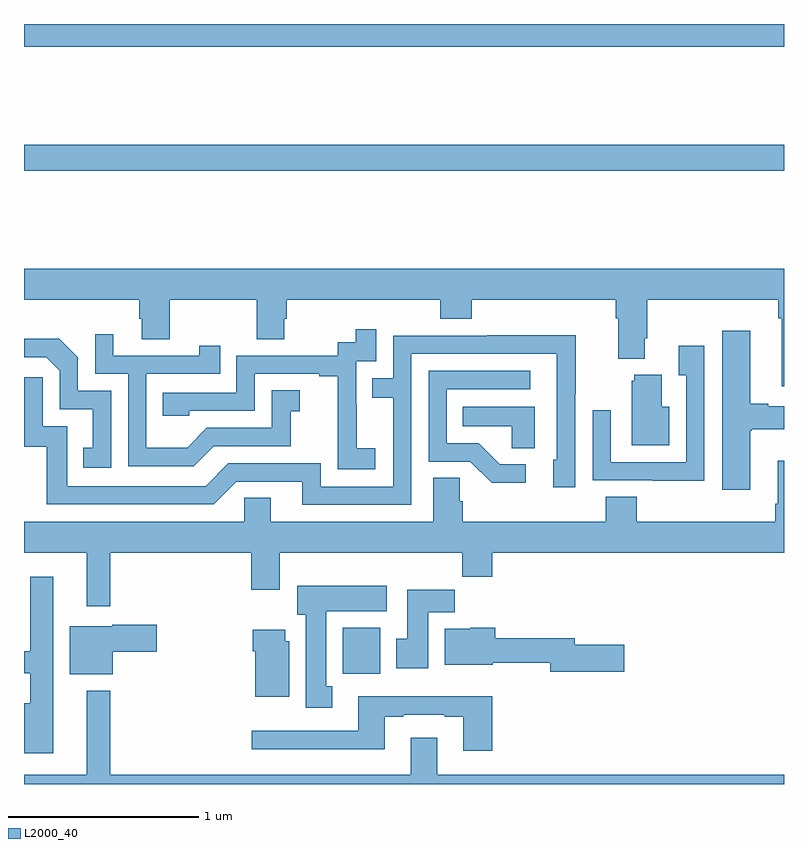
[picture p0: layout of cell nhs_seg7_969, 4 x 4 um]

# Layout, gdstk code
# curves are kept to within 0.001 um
import gdstk
lib = gdstk.Library(unit=1e-6, precision=1e-09)
def R(c, l, rs):  # rectangles x0, y0, x1, y1
    for r in rs: c.add(gdstk.rectangle(r[:2], r[2:], *l))
def P(c, l, *ps):  # polygons
    for p in ps: c.add(gdstk.Polygon(p, *l))
L2000_40 = (2000, 40)

nhs_seg7_969 = lib.new_cell('nhs_seg7_969')
R(nhs_seg7_969, L2000_40, [(182.678,1066.58,182.875,1066.822), (181,1069.228,185,1069.364), (181,1069.88,185,1070)])
P(nhs_seg7_969, L2000_40, [(185,1068.712),(181,1068.712),(181,1068.548),(181.607,1068.548),(181.607,1068.45),(181.619,1068.45),(181.619,1068.34),(181.767,1068.34),(181.767,1068.548),(182.224,1068.548),(182.224,1068.34),(182.371,1068.34),(182.371,1068.45),(182.384,1068.45),(182.384,1068.548),(183.191,1068.548),(183.191,1068.449),(183.356,1068.449),(183.356,1068.548),(184.115,1068.548),(184.115,1068.452),(184.127,1068.452),(184.127,1068.239),(184.267,1068.239),(184.267,1068.346),(184.28,1068.346),(184.28,1068.548),(184.969,1068.548),(184.969,1068.452),(184.988,1068.452),(184.988,1068.093),(185,1068.093)],
  [(182.848,1067.767),(182.75,1067.767),(182.75,1067.996),(182.748,1067.996),(182.748,1068.225),(182.853,1068.225),(182.853,1068.394),(182.745,1068.394),(182.745,1068.324),(182.652,1068.324),(182.652,1068.255),(182.118,1068.255),(182.118,1068.06),(181.729,1068.06),(181.729,1067.937),(181.869,1067.937),(181.869,1067.964),(182.214,1067.964),(182.214,1068.159),(182.555,1068.159),(182.555,1068.147),(182.651,1068.147),(182.651,1067.863),(182.65,1067.863),(182.65,1067.657),(182.848,1067.657)],
  [(184.822,1067.86),(184.83,1067.86),(184.83,1067.867),(185,1067.867),(185,1067.989),(184.918,1067.989),(184.918,1068.002),(184.822,1068.002),(184.822,1068.385),(184.676,1068.385),(184.676,1067.55),(184.822,1067.55)],
  [(181.999,1067.778),(182.403,1067.778),(182.403,1067.963),(182.452,1067.963),(182.452,1068.073),(182.304,1068.073),(182.304,1067.874),(181.962,1067.874),(181.858,1067.77),(181.644,1067.77),(181.644,1068.159),(182.033,1068.159),(182.033,1068.307),(181.922,1068.307),(181.922,1068.255),(181.471,1068.255),(181.471,1068.367),(181.374,1068.367),(181.374,1068.159),(181.548,1068.159),(181.548,1067.673),(181.894,1067.673)],
  [(183.039,1068.264),(183.804,1068.264),(183.804,1067.706),(183.785,1067.706),(183.785,1067.562),(183.9,1067.562),(183.9,1068.055),(183.903,1068.055),(183.903,1068.362),(183.439,1068.362),(183.439,1068.36),(182.943,1068.36),(182.943,1068.135),(182.833,1068.135),(182.833,1068.034),(182.943,1068.034),(182.943,1067.565),(182.562,1067.565),(182.562,1067.688),(182.076,1067.688),(181.956,1067.568),(181.227,1067.568),(181.227,1067.883),(181.098,1067.883),(181.098,1068.142),(181,1068.142),(181.001,1067.775),(181.119,1067.775),(181.119,1067.472),(181.998,1067.472),(182.118,1067.592),(182.465,1067.592),(182.465,1067.469),(183.039,1067.469)],
  [(181.458,1068.069),(181.284,1068.069),(181.284,1068.246),(181.186,1068.344),(181,1068.344),(181,1068.246),(181.116,1068.246),(181.188,1068.174),(181.188,1067.973),(181.361,1067.973),(181.361,1067.769),(181.312,1067.769),(181.312,1067.664),(181.458,1067.664)],
  [(184.581,1068.307),(184.445,1068.307),(184.445,1068.151),(184.485,1068.151),(184.485,1067.694),(184.089,1067.694),(184.089,1067.968),(183.993,1067.968),(183.993,1067.598),(184.309,1067.598),(184.309,1067.597),(184.581,1067.597)],
  [(183.64,1067.682),(183.505,1067.682),(183.394,1067.793),(183.225,1067.793),(183.225,1068.078),(183.664,1068.078),(183.664,1068.174),(183.129,1068.174),(183.129,1067.697),(183.348,1067.697),(183.461,1067.585),(183.64,1067.585)],
  [(184.396,1067.986),(184.357,1067.986),(184.357,1068.154),(184.211,1068.154),(184.211,1068.123),(184.199,1068.123),(184.199,1067.783),(184.396,1067.783)],
  [(183.688,1067.986),(183.31,1067.986),(183.31,1067.882),(183.567,1067.882),(183.567,1067.767),(183.688,1067.767)],
  [(181.453,1067.216),(182.195,1067.216),(182.195,1067.022),(182.347,1067.022),(182.347,1067.216),(183.307,1067.216),(183.307,1067.092),(183.464,1067.092),(183.464,1067.216),(185,1067.216),(185,1067.701),(184.967,1067.701),(184.967,1067.476),(184.955,1067.476),(184.955,1067.38),(184.226,1067.38),(184.226,1067.513),(184.061,1067.513),(184.061,1067.38),(183.308,1067.38),(183.308,1067.489),(183.294,1067.489),(183.294,1067.612),(183.155,1067.612),(183.155,1067.38),(182.299,1067.38),(182.299,1067.507),(182.16,1067.507),(182.16,1067.38),(181,1067.38),(181,1067.216),(181.331,1067.216),(181.331,1066.935),(181.453,1066.935)],
  [(181.153,1067.092),(181.032,1067.092),(181.032,1066.7),(181,1066.7),(181,1066.583),(181.032,1066.583),(181.032,1066.426),(181,1066.426),(181,1066.163),(181.153,1066.163)],
  [(182.623,1066.514),(182.59,1066.514),(182.59,1066.91),(182.908,1066.91),(182.908,1067.044),(182.438,1067.044),(182.438,1066.89),(182.483,1066.89),(182.483,1066.401),(182.623,1066.401)],
  [(183.127,1066.904),(183.266,1066.904),(183.266,1067.023),(183.017,1067.023),(183.017,1066.764),(182.96,1066.764),(182.96,1066.608),(183.127,1066.608)],
  [(181.468,1066.697),(181.699,1066.697),(181.699,1066.839),(181.464,1066.839),(181.464,1066.831),(181.241,1066.831),(181.241,1066.577),(181.468,1066.577)],
  [(184.159,1066.734),(183.898,1066.734),(183.898,1066.768),(183.479,1066.768),(183.479,1066.822),(183.348,1066.822),(183.348,1066.816),(183.215,1066.816),(183.215,1066.628),(183.466,1066.628),(183.466,1066.639),(183.77,1066.639),(183.77,1066.592),(184.159,1066.592)],
  [(182.395,1066.752),(182.374,1066.752),(182.374,1066.813),(182.204,1066.813),(182.204,1066.7),(182.216,1066.7),(182.216,1066.46),(182.395,1066.46)],
  [(185,1066.048),(183.175,1066.048),(183.175,1066.243),(183.035,1066.243),(183.035,1066.048),(181.453,1066.048),(181.453,1066.492),(181.331,1066.492),(181.331,1066.048),(181,1066.048),(181,1066),(185,1066)],
  [(183.464,1066.462),(182.759,1066.462),(182.759,1066.281),(182.199,1066.281),(182.199,1066.184),(182.899,1066.184),(182.899,1066.353),(182.995,1066.353),(182.995,1066.365),(183.215,1066.365),(183.215,1066.353),(183.311,1066.353),(183.311,1066.176),(183.464,1066.176)])

lib.write_gds('nhs_seg7_969.gds')
